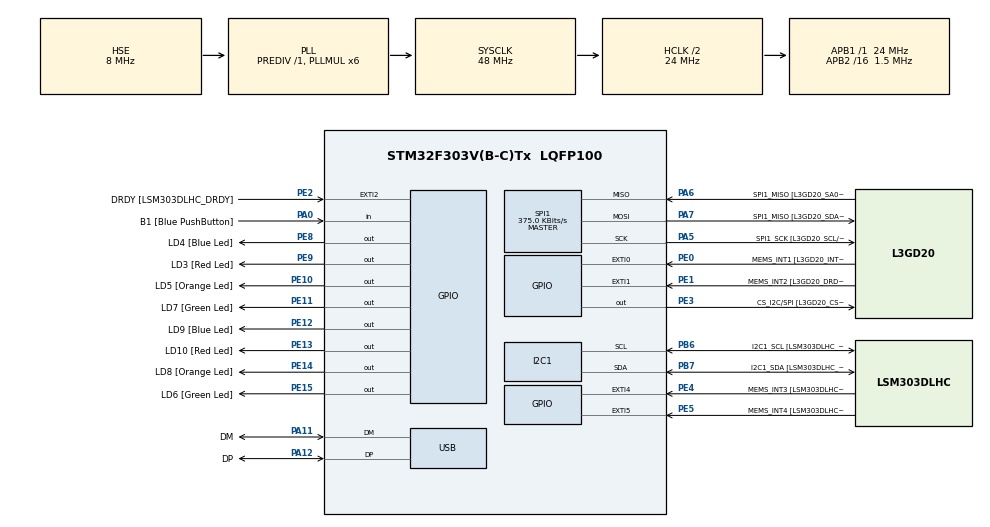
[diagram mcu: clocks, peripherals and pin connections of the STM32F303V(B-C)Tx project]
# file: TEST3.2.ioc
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I2C1.Timing-I2C=0x2000090E
Mcu.Family=STM32F3
Mcu.Name=STM32F303V(B-C)Tx
Mcu.Package=LQFP100
NVIC.PriorityGroup=NVIC_PRIORITYGROUP_0
NVIC.TIM1_UP_TIM16_IRQn=true\:0\:0\:false\:false\:true\:true
NVIC.USB_LP_CAN_RX0_IRQn=true\:0\:0\:false\:false\:true\:false
PA0.GPIO_Label=B1 [Blue PushButton]
PA0.Signal=GPIO_Input
PA11.GPIO_Label=DM
PA11.Mode=Device
PA11.Signal=USB_DM
PA12.GPIO_Label=DP
PA12.Mode=Device
PA12.Signal=USB_DP
PA13.GPIO_Label=SWDIO
PA13.Mode=Serial_Wire
PA13.Signal=SYS_JTMS-SWDIO
PA14.GPIO_Label=SWCLK
PA14.Mode=Serial_Wire
PA14.Signal=SYS_JTCK-SWCLK
PA5.GPIO_Label=SPI1_SCK [L3GD20_SCL/SPC]
PA5.Mode=Full_Duplex_Master
PA5.Signal=SPI1_SCK
PA6.GPIO_Label=SPI1_MISO [L3GD20_SA0/SDO]
PA6.Mode=Full_Duplex_Master
PA6.Signal=SPI1_MISO
PA7.GPIO_Label=SPI1_MISO [L3GD20_SDA/SDI/SDO]
PA7.Mode=Full_Duplex_Master
PA7.Signal=SPI1_MOSI
PB3.GPIO_Label=SWO
PB3.Signal=SYS_JTDO-TRACESWO
PB6.GPIO_Label=I2C1_SCL [LSM303DLHC_SCL]
PB6.Mode=I2C
PB6.Signal=I2C1_SCL
PB7.GPIO_Label=I2C1_SDA [LSM303DLHC_SDA]
PB7.Mode=I2C
PB7.Signal=I2C1_SDA
PC14-OSC32_IN.GPIO_Label=OSC32_IN
PC14-OSC32_IN.Signal=RCC_OSC32_IN
PC15-OSC32_OUT.GPIO_Label=OSC32_OUT
PC15-OSC32_OUT.Signal=RCC_OSC32_OUT
PE0.GPIO_Label=MEMS_INT1 [L3GD20_INT1]
PE0.GPIO_ModeDefaultEXTI=GPIO_MODE_EVT_RISING
PE0.Signal=GPXTI0
PE1.GPIO_Label=MEMS_INT2 [L3GD20_DRDY/INT2]
PE1.GPIO_ModeDefaultEXTI=GPIO_MODE_EVT_RISING
PE1.Signal=GPXTI1
PE10.GPIO_Label=LD5 [Orange Led]
PE10.Signal=GPIO_Output
PE11.GPIO_Label=LD7 [Green Led]
PE11.Signal=GPIO_Output
PE12.GPIO_Label=LD9 [Blue Led]
PE12.Signal=GPIO_Output
PE13.GPIO_Label=LD10 [Red Led]
PE13.Signal=GPIO_Output
PE14.GPIO_Label=LD8 [Orange Led]
PE14.Signal=GPIO_Output
PE15.GPIO_Label=LD6 [Green Led]
PE15.Signal=GPIO_Output
PE2.GPIO_Label=DRDY [LSM303DLHC_DRDY]
PE2.GPIO_ModeDefaultEXTI=GPIO_MODE_EVT_RISING
PE2.Signal=GPXTI2
PE3.GPIO_Label=CS_I2C/SPI [L3GD20_CS_I2C/SPI]
PE3.Signal=GPIO_Output
PE4.GPIO_Label=MEMS_INT3 [LSM303DLHC_INT1]
PE4.GPIO_ModeDefaultEXTI=GPIO_MODE_EVT_RISING
PE4.Signal=GPXTI4
PE5.GPIO_Label=MEMS_INT4 [LSM303DLHC_INT2]
PE5.GPIO_ModeDefaultEXTI=GPIO_MODE_EVT_RISING
PE5.Signal=GPXTI5
PE8.GPIO_Label=LD4 [Blue Led]
PE8.Signal=GPIO_Output
PE9.GPIO_Label=LD3 [Red Led]
PE9.Signal=GPIO_Output
PF0-OSC_IN.GPIO_Label=OSC_IN
PF0-OSC_IN.Mode=HSE-External-Clock-Source
PF0-OSC_IN.Signal=RCC_OSC_IN
PF1-OSC_OUT.GPIO_Label=OSC_OUT
PF1-OSC_OUT.Signal=RCC_OSC_OUT
ProjectManager.HeapSize=0x200
ProjectManager.StackSize=0x400
ProjectManager.TargetToolchain=MDK-ARM V5
RCC.AHBCLKDivider=RCC_SYSCLK_DIV2
RCC.AHBFreq_Value=24000000
RCC.APB1Freq_Value=24000000
RCC.APB1TimFreq_Value=24000000
RCC.APB2CLKDivider=RCC_HCLK_DIV16
RCC.APB2Freq_Value=1500000
RCC.APB2TimFreq_Value=3000000
RCC.CortexFreq_Value=24000000
RCC.HCLKFreq_Value=24000000
RCC.HSE_VALUE=8000000
RCC.HSI_VALUE=8000000
RCC.LSE_VALUE=32768
RCC.PLLMUL=RCC_PLL_MUL6
RCC.SYSCLKFreq_VALUE=48000000
RCC.SYSCLKSourceVirtual=RCC_SYSCLKSOURCE_PLLCLK
RCC.USBFreq_Value=48000000
SPI1.BaudRatePrescaler=SPI_BAUDRATEPRESCALER_4
SPI1.BaudRatePrescaler-Full_Duplex_Master=SPI_BAUDRATEPRESCALER_2
SPI1.CalculateBaudRate=375.0 KBits/s
SPI1.CalculateBaudRate-Full_Duplex_Master=24.0 MBits/s
SPI1.Direction=SPI_DIRECTION_2LINES
SPI1.Mode=SPI_MODE_MASTER
SPI1.Mode-Full_Duplex_Master=SPI_MODE_MASTER
SPI1.VirtualType=VM_MASTER
TIM1.Period=10
TIM1.Prescaler=600
TIM4.Period=100
TIM4.Prescaler=24000
USB_DEVICE.CLASS_NAME_FS=CDC
USB_DEVICE.VirtualMode=Cdc
USB_DEVICE.VirtualModeFS=Cdc_FS
VP_TIM1_VS_ClockSourceINT.Mode=Internal
VP_TIM4_VS_ClockSourceINT.Mode=Internal
VP_USB_DEVICE_VS_USB_DEVICE_CDC_FS.Mode=CDC_FS
board=STM32F3DISCOVERY

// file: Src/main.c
/**
  ******************************************************************************
	* @Author         : Ibrahim N Ibrahim
  * @file           : main.c
  * @brief          : Main program body
  ******************************************************************************
  * This notice applies to any and all portions of this file
  * that are not between comment pairs USER CODE BEGIN and
  * USER CODE END. Other portions of this file, whether
  * inserted by the user or by software development tools
  * are owned by their respective copyright owners.
  *
  * Copyright (c) 2018 STMicroelectronics International N.V.
  * All rights reserved.
  *
  * Redistribution and use in source and binary forms, with or without
  * modification, are permitted, provided that the following conditions are met:
  *
  * 1. Redistribution of source code must retain the above copyright notice,
  *    this list of conditions and the following disclaimer.
  * 2. Redistributions in binary form must reproduce the above copyright notice,
  *    this list of conditions and the following disclaimer in the documentation
  *    and/or other materials provided with the distribution.
  * 3. Neither the name of STMicroelectronics nor the names of other
  *    contributors to this software may be used to endorse or promote products
  *    derived from this software without specific written permission.
  * 4. This software, including modifications and/or derivative works of this
  *    software, must execute solely and exclusively on microcontroller or
  *    microprocessor devices manufactured by or for STMicroelectronics.
  * 5. Redistribution and use of this software other than as permitted under
  *    this license is void and will automatically terminate your rights under
  *    this license.
  *
  * THIS SOFTWARE IS PROVIDED BY STMICROELECTRONICS AND CONTRIBUTORS "AS IS"
  * AND ANY EXPRESS, IMPLIED OR STATUTORY WARRANTIES, INCLUDING, BUT NOT
  * LIMITED TO, THE IMPLIED WARRANTIES OF MERCHANTABILITY, FITNESS FOR A
  * PARTICULAR PURPOSE AND NON-INFRINGEMENT OF THIRD PARTY INTELLECTUAL PROPERTY
  * RIGHTS ARE DISCLAIMED TO THE FULLEST EXTENT PERMITTED BY LAW. IN NO EVENT
  * SHALL STMICROELECTRONICS OR CONTRIBUTORS BE LIABLE FOR ANY DIRECT, INDIRECT,
  * INCIDENTAL, SPECIAL, EXEMPLARY, OR CONSEQUENTIAL DAMAGES (INCLUDING, BUT NOT
  * LIMITED TO, PROCUREMENT OF SUBSTITUTE GOODS OR SERVICES; LOSS OF USE, DATA,
  * OR PROFITS; OR BUSINESS INTERRUPTION) HOWEVER CAUSED AND ON ANY THEORY OF
  * LIABILITY, WHETHER IN CONTRACT, STRICT LIABILITY, OR TORT (INCLUDING
  * NEGLIGENCE OR OTHERWISE) ARISING IN ANY WAY OUT OF THE USE OF THIS SOFTWARE,
  * EVEN IF ADVISED OF THE POSSIBILITY OF SUCH DAMAGE.
  *
  ******************************************************************************
  */
#include "main.h"
#include "stm32f3xx_hal.h"
#include "usb_device.h"

/* USER CODE BEGIN Includes */
#include "usbd_cdc_if.h"
#include "selftest.h"
#include "stm32f3_discovery.h"
#include "stm32f3_discovery_accelerometer.h"
#include "stm32f3_discovery_gyroscope.h"
/* Include ARM math */
#include "arm_math.h"
/* USER CODE END Includes */

I2C_HandleTypeDef hi2c1;

SPI_HandleTypeDef hspi1;

TIM_HandleTypeDef htim1;
TIM_HandleTypeDef htim4;

/* USER CODE BEGIN PV */
/* Private variables ---------------------------------------------------------*/
uint8_t receive_data[64];
char received=0;
char ojereceived=0;
uint8_t mystring[]="START ACQURING!!!\r\n";
float Xval,Yval = 0x00;
uint8_t bufferRPYsend[60];
uint8_t bufferTHsend[10];
uint8_t bufferPHsend[10];
float Gbuffer[3];
int16_t Abuffer[3];
uint8_t error=0;
double xg=0;
double yg=0;
double zg=0;
double xa=0;
double ya=0;
double za=0;
double fxa=0;
double fya=0;
double fza=0;
double xat_1=0;
double vx,vy,vz=0;
double pitch,pitch2,pitcha,roll,roll2,rolla,yaw,yaw2=0;
/* Setting PID Controller */
float TH_Current=0;
float TH_CurrentF=0;
float PH_Current=0;
float PH_CurrentF=0;
float PS_Current=0;
float PS_CurrentF=0;
float gtheta=0;
float gthetaF=0;
float groll=0;
float grollF=0;
float gyaw=0;
float gyawF=0;
int32_t blinkT=0;
double xca=0;
double yca=0;
double zca=0;
uint32_t samples=0;
/* USER CODE END PV */

void SystemClock_Config(void);
static void MX_GPIO_Init(void);
static void MX_I2C1_Init(void);
static void MX_SPI1_Init(void);
static void MX_TIM1_Init(void);
static void MX_TIM4_Init(void);

/* USER CODE BEGIN PFP */
/* Private function prototypes -----------------------------------------------*/
void HAL_TIM_PeriodElapsedCallback(TIM_HandleTypeDef *htim)
{
	if (htim->Instance == TIM1)
{
	/////////////////////////////////////
	/////////////////////////////////////
	BSP_ACCELERO_GetXYZ(Abuffer);
	BSP_GYRO_GetXYZ(Gbuffer);
	xg=Gbuffer[0];xa=Abuffer[0];
	yg=Gbuffer[1];ya=Abuffer[1];
	zg=Gbuffer[2];za=Abuffer[2];
	////////////////////////////////
	fxa=xa*0.4+(fxa*(1-0.4));
	fya=ya*0.005+(fya*(1-0.005));
	fza=za*0.005+(fza*(1-0.005));
  //////////////////////////////////
	pitch=atan(fxa/sqrt(fya*fya + fza*fza))*57.29578;
	pitcha=atan(xa/sqrt(ya*ya + za*za))*57.29578;
	roll=atan(fya/sqrt(fxa*fxa + fza*fza))*57.29578;
	rolla=atan(ya/sqrt(xa*xa + za*za))*57.29578;
	yaw=atan(fza/sqrt(fxa*fxa + fza*fza))*57.29578;

	/* THETA CONTROL*/
	//Current angle = 98% x (current angle + gyro rotation rate) + (2% * Accelerometer angle)
	pitch2=0.98*(pitch2+(xg/1000)*0.002)+0.02*pitcha;
	/* Calculate error */
	TH_Current=pitch2;
	TH_CurrentF=0.05*pitch2+(1-0.05)*TH_CurrentF;///
  gtheta=(xg/1000)*0.002;
 	gthetaF=0.01f*gtheta+(1-0.01f)*gthetaF;
	//////////////////
	/* ROLL CONTROL*/
	//Current angle = 98% x (current angle + gyro rotation rate) + (2% * Accelerometer angle)
	roll2=0.98*(roll2+(yg/1000)*0.002)+0.02*rolla;
	/* Calculate error */
	PH_Current=roll2;
	PH_CurrentF=0.05*roll2+(1-0.05)*PH_CurrentF;///
  groll=(yg/1000)*0.002;
 	grollF=0.01f*groll+(1-0.01f)*grollF;
	/* YAW CONTROL*/
	//Current angle = 98% x (current angle + gyro rotation rate) + (2% * Accelerometer angle)
	yaw2=((zg/1000)*0.002)+yaw2;
	/* Calculate error */
	PS_Current=yaw2;
	PS_CurrentF=0.05*yaw2+(1-0.05)*PS_CurrentF;///
  gyaw=(yg/1000)*0.002;
 	gyawF=0.01f*gyaw+(1-0.01f)*gyawF;
	////////////////////////////////////
	//Calculate Linear Velocity///
	vx=xa-xca;
	vy=ya-yca;
	vz=za-zca;
	/*show limits, appearing that sensors work */

	if (blinkT == 2)
	{

	}

	if (blinkT == 10)
	{

		blinkT=-1;

		sprintf((char*)bufferRPYsend,"%0.3fTH%0.3fPH%0.3fPS%0.3fAX%0.3fAY%0.3fAZ\n",TH_CurrentF,PH_CurrentF,PS_CurrentF,vx,vy,vz);
		CDC_Transmit_FS(bufferRPYsend,strlen((const char*)bufferRPYsend));

//		sprintf((char*)bufferTHsend,"%0.3f TH\n",PH_CurrentF);
//		CDC_Transmit_FS(bufferTHsend,strlen((const char*)bufferTHsend));
//
//		sprintf((char*)bufferPHsend,"%0.3f PH\n",PH_CurrentF);
//		CDC_Transmit_FS(bufferPHsend,strlen((const char*)bufferPHsend));
	}
	blinkT++;
	/* End Reading Sensors */
}
}
/* USER CODE END PFP */

/* USER CODE END PFP */

int main(void)
{

  /* MCU Configuration----------------------------------------------------------*/

  /* Reset of all peripherals, Initializes the Flash interface and the Systick. */
  HAL_Init();

  /* Configure the system clock */
  SystemClock_Config();

  /* Initialize all configured peripherals */
  MX_GPIO_Init();
  MX_I2C1_Init();
  MX_SPI1_Init();
  MX_TIM1_Init();
  MX_TIM4_Init();
  MX_USB_DEVICE_Init();
  /* USER CODE BEGIN 2 */
	HAL_Delay(2000);
	if (BSP_GYRO_Init()!=0) error=1;
	if (BSP_ACCELERO_Init()!=0) error+=1;
	HAL_Delay(500);

//  if(BSP_GYRO_Init() != HAL_OK)
//  {
//    /* Initialization Error */
//    Error_Handler();
//  }
  //||
  /* Wait for User button to be pressed */
  while (BSP_PB_GetState(BUTTON_USER) != KEY_PRESSED)
  {
    /* Move discovery kit to detect negative and positive acceleration values
    on X, Y axis for GYROSCOPE MEMS*/
		GYRO_MEMS_Test();
		ACCELERO_MEMS_Test();
		BSP_ACCELERO_GetXYZ(Abuffer);
		xca+=Abuffer[0];
	  yca+=Abuffer[1];
	  zca+=Abuffer[2];
		samples++;
		if (samples==100)
		{
			xca=xca/100;
			yca=yca/100;
			zca=zca/100;
			break;
		}
  }

//	BSP_LED_Off(LED3);
//	BSP_LED_Off(LED6);
//	BSP_LED_Off(LED7);
//	BSP_LED_Off(LED4);
//	BSP_LED_Off(LED10);
//	BSP_LED_Off(LED8);
//	BSP_LED_Off(LED9);
//	BSP_LED_Off(LED5);
		BSP_LED_On(LED_RED);
		BSP_LED_On(LED_BLUE);
		BSP_LED_Off(LED_ORANGE);
		BSP_LED_On(LED_GREEN);
		BSP_LED_On(LED_GREEN_2);
		BSP_LED_Off(LED_ORANGE_2);
		BSP_LED_On(LED_RED_2);
		BSP_LED_On(LED_BLUE_2);

	HAL_TIM_Base_Start_IT(&htim1);
  /* USER CODE END 2 */

  /* Infinite loop */
  while (1)
  {

  /* USER CODE BEGIN 3 */
	//CDC_Transmit_FS(mystring,strlen((const char*)mystring));

  }
  /* USER CODE END 3 */

}

void SystemClock_Config(void)
{

  RCC_OscInitTypeDef RCC_OscInitStruct;
  RCC_ClkInitTypeDef RCC_ClkInitStruct;
  RCC_PeriphCLKInitTypeDef PeriphClkInit;

    /**Initializes the CPU, AHB and APB busses clocks
    */
  RCC_OscInitStruct.OscillatorType = RCC_OSCILLATORTYPE_HSI|RCC_OSCILLATORTYPE_HSE;
  RCC_OscInitStruct.HSEState = RCC_HSE_BYPASS;
  RCC_OscInitStruct.HSEPredivValue = RCC_HSE_PREDIV_DIV1;
  RCC_OscInitStruct.HSIState = RCC_HSI_ON;
  RCC_OscInitStruct.HSICalibrationValue = 16;
  RCC_OscInitStruct.PLL.PLLState = RCC_PLL_ON;
  RCC_OscInitStruct.PLL.PLLSource = RCC_PLLSOURCE_HSE;
  RCC_OscInitStruct.PLL.PLLMUL = RCC_PLL_MUL6;
  if (HAL_RCC_OscConfig(&RCC_OscInitStruct) != HAL_OK)
  {
    _Error_Handler(__FILE__, __LINE__);
  }

    /**Initializes the CPU, AHB and APB busses clocks
    */
  RCC_ClkInitStruct.ClockType = RCC_CLOCKTYPE_HCLK|RCC_CLOCKTYPE_SYSCLK
                              |RCC_CLOCKTYPE_PCLK1|RCC_CLOCKTYPE_PCLK2;
  RCC_ClkInitStruct.SYSCLKSource = RCC_SYSCLKSOURCE_PLLCLK;
  RCC_ClkInitStruct.AHBCLKDivider = RCC_SYSCLK_DIV2;
  RCC_ClkInitStruct.APB1CLKDivider = RCC_HCLK_DIV1;
  RCC_ClkInitStruct.APB2CLKDivider = RCC_HCLK_DIV16;

  if (HAL_RCC_ClockConfig(&RCC_ClkInitStruct, FLASH_LATENCY_0) != HAL_OK)
  {
    _Error_Handler(__FILE__, __LINE__);
  }

  PeriphClkInit.PeriphClockSelection = RCC_PERIPHCLK_USB|RCC_PERIPHCLK_I2C1
                              |RCC_PERIPHCLK_TIM1;
  PeriphClkInit.I2c1ClockSelection = RCC_I2C1CLKSOURCE_HSI;
  PeriphClkInit.USBClockSelection = RCC_USBCLKSOURCE_PLL;
  PeriphClkInit.Tim1ClockSelection = RCC_TIM1CLK_HCLK;
  if (HAL_RCCEx_PeriphCLKConfig(&PeriphClkInit) != HAL_OK)
  {
    _Error_Handler(__FILE__, __LINE__);
  }

    /**Configure the Systick interrupt time
    */
  HAL_SYSTICK_Config(HAL_RCC_GetHCLKFreq()/1000);

    /**Configure the Systick
    */
  HAL_SYSTICK_CLKSourceConfig(SYSTICK_CLKSOURCE_HCLK);

  /* SysTick_IRQn interrupt configuration */
  HAL_NVIC_SetPriority(SysTick_IRQn, 0, 0);
}

/* I2C1 init function */
static void MX_I2C1_Init(void)
{

  hi2c1.Instance = I2C1;
  hi2c1.Init.Timing = 0x2000090E;
  hi2c1.Init.OwnAddress1 = 0;
  hi2c1.Init.AddressingMode = I2C_ADDRESSINGMODE_7BIT;
  hi2c1.Init.DualAddressMode = I2C_DUALADDRESS_DISABLE;
  hi2c1.Init.OwnAddress2 = 0;
  hi2c1.Init.OwnAddress2Masks = I2C_OA2_NOMASK;
  hi2c1.Init.GeneralCallMode = I2C_GENERALCALL_DISABLE;
  hi2c1.Init.NoStretchMode = I2C_NOSTRETCH_DISABLE;
  if (HAL_I2C_Init(&hi2c1) != HAL_OK)
  {
    _Error_Handler(__FILE__, __LINE__);
  }

    /**Configure Analogue filter
    */
  if (HAL_I2CEx_ConfigAnalogFilter(&hi2c1, I2C_ANALOGFILTER_ENABLE) != HAL_OK)
  {
    _Error_Handler(__FILE__, __LINE__);
  }

    /**Configure Digital filter
    */
  if (HAL_I2CEx_ConfigDigitalFilter(&hi2c1, 0) != HAL_OK)
  {
    _Error_Handler(__FILE__, __LINE__);
  }

}

/* SPI1 init function */
static void MX_SPI1_Init(void)
{

  /* SPI1 parameter configuration*/
  hspi1.Instance = SPI1;
  hspi1.Init.Mode = SPI_MODE_MASTER;
  hspi1.Init.Direction = SPI_DIRECTION_2LINES;
  hspi1.Init.DataSize = SPI_DATASIZE_4BIT;
  hspi1.Init.CLKPolarity = SPI_POLARITY_LOW;
  hspi1.Init.CLKPhase = SPI_PHASE_1EDGE;
  hspi1.Init.NSS = SPI_NSS_SOFT;
  hspi1.Init.BaudRatePrescaler = SPI_BAUDRATEPRESCALER_4;
  hspi1.Init.FirstBit = SPI_FIRSTBIT_MSB;
  hspi1.Init.TIMode = SPI_TIMODE_DISABLE;
  hspi1.Init.CRCCalculation = SPI_CRCCALCULATION_DISABLE;
  hspi1.Init.CRCPolynomial = 7;
  hspi1.Init.CRCLength = SPI_CRC_LENGTH_DATASIZE;
  hspi1.Init.NSSPMode = SPI_NSS_PULSE_ENABLE;
  if (HAL_SPI_Init(&hspi1) != HAL_OK)
  {
    _Error_Handler(__FILE__, __LINE__);
  }

}

/* TIM1 init function */
static void MX_TIM1_Init(void)
{

  TIM_ClockConfigTypeDef sClockSourceConfig;
  TIM_MasterConfigTypeDef sMasterConfig;

  htim1.Instance = TIM1;
  htim1.Init.Prescaler = 600;
  htim1.Init.CounterMode = TIM_COUNTERMODE_UP;
  htim1.Init.Period = 10;
  htim1.Init.ClockDivision = TIM_CLOCKDIVISION_DIV1;
  htim1.Init.RepetitionCounter = 0;
  htim1.Init.AutoReloadPreload = TIM_AUTORELOAD_PRELOAD_DISABLE;
  if (HAL_TIM_Base_Init(&htim1) != HAL_OK)
  {
    _Error_Handler(__FILE__, __LINE__);
  }

  sClockSourceConfig.ClockSource = TIM_CLOCKSOURCE_INTERNAL;
  if (HAL_TIM_ConfigClockSource(&htim1, &sClockSourceConfig) != HAL_OK)
  {
    _Error_Handler(__FILE__, __LINE__);
  }

  sMasterConfig.MasterOutputTrigger = TIM_TRGO_RESET;
  sMasterConfig.MasterOutputTrigger2 = TIM_TRGO2_RESET;
  sMasterConfig.MasterSlaveMode = TIM_MASTERSLAVEMODE_DISABLE;
  if (HAL_TIMEx_MasterConfigSynchronization(&htim1, &sMasterConfig) != HAL_OK)
  {
    _Error_Handler(__FILE__, __LINE__);
  }

}

/* TIM4 init function */
static void MX_TIM4_Init(void)
{

  TIM_ClockConfigTypeDef sClockSourceConfig;
  TIM_MasterConfigTypeDef sMasterConfig;

  htim4.Instance = TIM4;
  htim4.Init.Prescaler = 24000;
  htim4.Init.CounterMode = TIM_COUNTERMODE_UP;
  htim4.Init.Period = 100;
  htim4.Init.ClockDivision = TIM_CLOCKDIVISION_DIV1;
  htim4.Init.AutoReloadPreload = TIM_AUTORELOAD_PRELOAD_DISABLE;
  if (HAL_TIM_Base_Init(&htim4) != HAL_OK)
  {
    _Error_Handler(__FILE__, __LINE__);
  }

  sClockSourceConfig.ClockSource = TIM_CLOCKSOURCE_INTERNAL;
  if (HAL_TIM_ConfigClockSource(&htim4, &sClockSourceConfig) != HAL_OK)
  {
    _Error_Handler(__FILE__, __LINE__);
  }

  sMasterConfig.MasterOutputTrigger = TIM_TRGO_RESET;
  sMasterConfig.MasterSlaveMode = TIM_MASTERSLAVEMODE_DISABLE;
  if (HAL_TIMEx_MasterConfigSynchronization(&htim4, &sMasterConfig) != HAL_OK)
  {
    _Error_Handler(__FILE__, __LINE__);
  }

}

/** Configure pins as
        * Analog
        * Input
        * Output
        * EVENT_OUT
        * EXTI
*/
static void MX_GPIO_Init(void)
{

  GPIO_InitTypeDef GPIO_InitStruct;

  /* GPIO Ports Clock Enable */
  __HAL_RCC_GPIOE_CLK_ENABLE();
  __HAL_RCC_GPIOC_CLK_ENABLE();
  __HAL_RCC_GPIOF_CLK_ENABLE();
  __HAL_RCC_GPIOA_CLK_ENABLE();
  __HAL_RCC_GPIOB_CLK_ENABLE();

  /*Configure GPIO pin Output Level */
  HAL_GPIO_WritePin(GPIOE, CS_I2C_SPI_Pin|LD4_Pin|LD3_Pin|LD5_Pin
                          |LD7_Pin|LD9_Pin|LD10_Pin|LD8_Pin
                          |LD6_Pin, GPIO_PIN_RESET);

  /*Configure GPIO pins : DRDY_Pin MEMS_INT3_Pin MEMS_INT4_Pin MEMS_INT1_Pin
                           MEMS_INT2_Pin */
  GPIO_InitStruct.Pin = DRDY_Pin|MEMS_INT3_Pin|MEMS_INT4_Pin|MEMS_INT1_Pin
                          |MEMS_INT2_Pin;
  GPIO_InitStruct.Mode = GPIO_MODE_EVT_RISING;
  GPIO_InitStruct.Pull = GPIO_NOPULL;
  HAL_GPIO_Init(GPIOE, &GPIO_InitStruct);

  /*Configure GPIO pins : CS_I2C_SPI_Pin LD4_Pin LD3_Pin LD5_Pin
                           LD7_Pin LD9_Pin LD10_Pin LD8_Pin
                           LD6_Pin */
  GPIO_InitStruct.Pin = CS_I2C_SPI_Pin|LD4_Pin|LD3_Pin|LD5_Pin
                          |LD7_Pin|LD9_Pin|LD10_Pin|LD8_Pin
                          |LD6_Pin;
  GPIO_InitStruct.Mode = GPIO_MODE_OUTPUT_PP;
  GPIO_InitStruct.Pull = GPIO_NOPULL;
  GPIO_InitStruct.Speed = GPIO_SPEED_FREQ_LOW;
  HAL_GPIO_Init(GPIOE, &GPIO_InitStruct);

  /*Configure GPIO pin : B1_Pin */
  GPIO_InitStruct.Pin = B1_Pin;
  GPIO_InitStruct.Mode = GPIO_MODE_INPUT;
  GPIO_InitStruct.Pull = GPIO_NOPULL;
  HAL_GPIO_Init(B1_GPIO_Port, &GPIO_InitStruct);

}

void _Error_Handler(char *file, int line)
{
  while(1)
  {
  }
}

/************************ (C) COPYRIGHT STMicroelectronics *****END OF FILE****/
